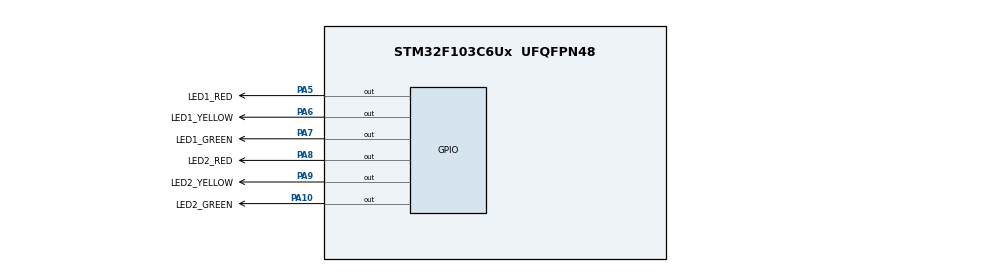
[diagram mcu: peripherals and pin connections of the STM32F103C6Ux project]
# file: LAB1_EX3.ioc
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Mcu.Family=STM32F1
Mcu.Name=STM32F103C6Ux
Mcu.Package=UFQFPN48
NVIC.PriorityGroup=NVIC_PRIORITYGROUP_4
PA10.GPIO_Label=LED2_GREEN
PA10.Signal=GPIO_Output
PA5.GPIO_Label=LED1_RED
PA5.Signal=GPIO_Output
PA6.GPIO_Label=LED1_YELLOW
PA6.Signal=GPIO_Output
PA7.GPIO_Label=LED1_GREEN
PA7.Signal=GPIO_Output
PA8.GPIO_Label=LED2_RED
PA8.Signal=GPIO_Output
PA9.GPIO_Label=LED2_YELLOW
PA9.Signal=GPIO_Output
ProjectManager.HeapSize=0x200
ProjectManager.StackSize=0x400
ProjectManager.TargetToolchain=STM32CubeIDE
RCC.APB1Freq_Value=8000000
RCC.APB2Freq_Value=8000000
VP_SYS_VS_ND.Mode=No_Debug
board=custom

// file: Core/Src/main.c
/* USER CODE BEGIN Header */
/**
  ******************************************************************************
  * @file           : main.c
  * @brief          : Main program body
  ******************************************************************************
  * @attention
  *
  * <h2><center>&copy; Copyright (c) 2023 STMicroelectronics.
  * All rights reserved.</center></h2>
  *
  * This software component is licensed by ST under BSD 3-Clause license,
  * the "License"; You may not use this file except in compliance with the
  * License. You may obtain a copy of the License at:
  *                        opensource.org/licenses/BSD-3-Clause
  *
  ******************************************************************************
  */
/* USER CODE END Header */
#include "main.h"

void SystemClock_Config(void);
static void MX_GPIO_Init(void);

int main(void)
{

  /* MCU Configuration--------------------------------------------------------*/

  /* Reset of all peripherals, Initializes the Flash interface and the Systick. */
  HAL_Init();

  /* Configure the system clock */
  SystemClock_Config();

  /* Initialize all configured peripherals */
  MX_GPIO_Init();

  /* Infinite loop */
  /* USER CODE BEGIN WHILE */

  int led1_status = 0;
  int led2_status = 2;
  int count1 = 5;
  int count2 = 3;

  while (1)
  {
	  // Traffic light North and South

	  if(led1_status == 0){
		  HAL_GPIO_WritePin(LED1_RED_GPIO_Port, LED1_RED_Pin, RESET);
		  HAL_GPIO_WritePin(LED1_YELLOW_GPIO_Port, LED1_YELLOW_Pin, SET);
		  HAL_GPIO_WritePin(LED1_GREEN_GPIO_Port, LED1_GREEN_Pin, SET);
		  count1 = count1 - 1;
		  if(count1 <= 0){
			  led1_status = 2;
			  count1 = 3;
		  }
	  }
	  else if(led1_status == 1){
		  HAL_GPIO_WritePin(LED1_RED_GPIO_Port, LED1_RED_Pin, SET);
		  HAL_GPIO_WritePin(LED1_YELLOW_GPIO_Port, LED1_YELLOW_Pin, RESET);
		  HAL_GPIO_WritePin(LED1_GREEN_GPIO_Port, LED1_GREEN_Pin, SET);
		  count1 = count1 - 1;
		  if(count1 <= 0){
			  led1_status = 0;
			  count1 = 5;
		  }
	  }
	  else{
		  HAL_GPIO_WritePin(LED1_RED_GPIO_Port, LED1_RED_Pin, SET);
		  HAL_GPIO_WritePin(LED1_YELLOW_GPIO_Port, LED1_YELLOW_Pin, SET);
		  HAL_GPIO_WritePin(LED1_GREEN_GPIO_Port, LED1_GREEN_Pin, RESET);
		  count1 = count1 - 1;
		  if(count1 <= 0){
			  led1_status = 1;
			  count1 = 2;
		  }
	  }

	  // Traffic light East and West
	  if(led2_status == 0){
		  HAL_GPIO_WritePin(LED2_RED_GPIO_Port, LED2_RED_Pin, RESET);
		  HAL_GPIO_WritePin(LED2_YELLOW_GPIO_Port, LED2_YELLOW_Pin, SET);
		  HAL_GPIO_WritePin(LED2_GREEN_GPIO_Port, LED2_GREEN_Pin, SET);
		  count2 = count2 - 1;
		  if(count2 <= 0){
			  led2_status = 2;
			  count2 = 3;
		  }
	  }
	  else if(led2_status == 1){
		  HAL_GPIO_WritePin(LED2_RED_GPIO_Port, LED2_RED_Pin, SET);
		  HAL_GPIO_WritePin(LED2_YELLOW_GPIO_Port, LED2_YELLOW_Pin, RESET);
		  HAL_GPIO_WritePin(LED2_GREEN_GPIO_Port, LED2_GREEN_Pin, SET);
		  count2 = count2 - 1;
		  if(count2 <= 0){
			  led2_status = 0;
			  count2 = 5;
		  }
	  }
	  else{
		  HAL_GPIO_WritePin(LED2_RED_GPIO_Port, LED2_RED_Pin, SET);
		  HAL_GPIO_WritePin(LED2_YELLOW_GPIO_Port, LED2_YELLOW_Pin, SET);
		  HAL_GPIO_WritePin(LED2_GREEN_GPIO_Port, LED2_GREEN_Pin, RESET);
		  count2 = count2 - 1;
		  if(count2 <= 0){
			  led2_status = 1;
			  count2 = 2;
		  }
	  }
	  HAL_Delay(1000);
    /* USER CODE END WHILE */

  }
}

void SystemClock_Config(void)
{
  RCC_OscInitTypeDef RCC_OscInitStruct = {0};
  RCC_ClkInitTypeDef RCC_ClkInitStruct = {0};

  /** Initializes the RCC Oscillators according to the specified parameters
  * in the RCC_OscInitTypeDef structure.
  */
  RCC_OscInitStruct.OscillatorType = RCC_OSCILLATORTYPE_HSI;
  RCC_OscInitStruct.HSIState = RCC_HSI_ON;
  RCC_OscInitStruct.HSICalibrationValue = RCC_HSICALIBRATION_DEFAULT;
  RCC_OscInitStruct.PLL.PLLState = RCC_PLL_NONE;
  if (HAL_RCC_OscConfig(&RCC_OscInitStruct) != HAL_OK)
  {
    Error_Handler();
  }
  /** Initializes the CPU, AHB and APB buses clocks
  */
  RCC_ClkInitStruct.ClockType = RCC_CLOCKTYPE_HCLK|RCC_CLOCKTYPE_SYSCLK
                              |RCC_CLOCKTYPE_PCLK1|RCC_CLOCKTYPE_PCLK2;
  RCC_ClkInitStruct.SYSCLKSource = RCC_SYSCLKSOURCE_HSI;
  RCC_ClkInitStruct.AHBCLKDivider = RCC_SYSCLK_DIV1;
  RCC_ClkInitStruct.APB1CLKDivider = RCC_HCLK_DIV1;
  RCC_ClkInitStruct.APB2CLKDivider = RCC_HCLK_DIV1;

  if (HAL_RCC_ClockConfig(&RCC_ClkInitStruct, FLASH_LATENCY_0) != HAL_OK)
  {
    Error_Handler();
  }
}

static void MX_GPIO_Init(void)
{
  GPIO_InitTypeDef GPIO_InitStruct = {0};

  /* GPIO Ports Clock Enable */
  __HAL_RCC_GPIOA_CLK_ENABLE();

  /*Configure GPIO pin Output Level */
  HAL_GPIO_WritePin(GPIOA, LED1_RED_Pin|LED1_YELLOW_Pin|LED1_GREEN_Pin|LED2_RED_Pin
                          |LED2_YELLOW_Pin|LED2_GREEN_Pin, GPIO_PIN_RESET);

  /*Configure GPIO pins : LED1_RED_Pin LED1_YELLOW_Pin LED1_GREEN_Pin LED2_RED_Pin
                           LED2_YELLOW_Pin LED2_GREEN_Pin */
  GPIO_InitStruct.Pin = LED1_RED_Pin|LED1_YELLOW_Pin|LED1_GREEN_Pin|LED2_RED_Pin
                          |LED2_YELLOW_Pin|LED2_GREEN_Pin;
  GPIO_InitStruct.Mode = GPIO_MODE_OUTPUT_PP;
  GPIO_InitStruct.Pull = GPIO_NOPULL;
  GPIO_InitStruct.Speed = GPIO_SPEED_FREQ_LOW;
  HAL_GPIO_Init(GPIOA, &GPIO_InitStruct);

}

void Error_Handler(void)
{
  __disable_irq();
  while (1)
  {
  }
}

/************************ (C) COPYRIGHT STMicroelectronics *****END OF FILE****/
